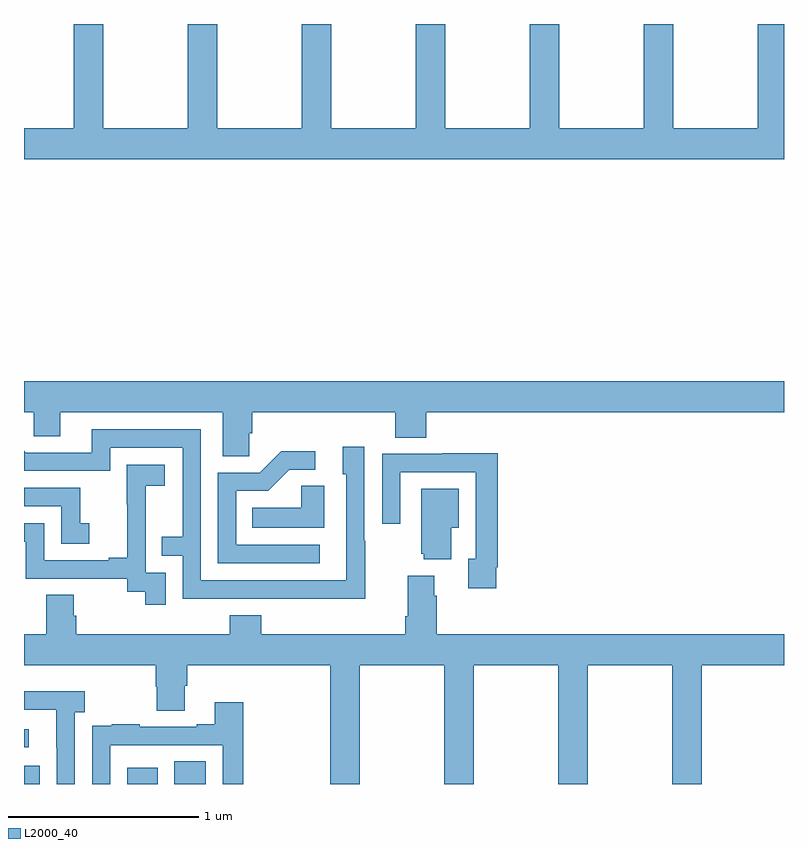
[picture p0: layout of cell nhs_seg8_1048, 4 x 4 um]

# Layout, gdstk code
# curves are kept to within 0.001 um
import gdstk
lib = gdstk.Library(unit=1e-6, precision=1e-09)
def R(c, l, rs):  # rectangles x0, y0, x1, y1
    for r in rs: c.add(gdstk.rectangle(r[:2], r[2:], *l))
def P(c, l, *ps):  # polygons
    for p in ps: c.add(gdstk.Polygon(p, *l))
L2000_40 = (2000, 40)

nhs_seg8_1048 = lib.new_cell('nhs_seg8_1048')
R(nhs_seg8_1048, L2000_40, [(179,1091.9,179.083,1091.995), (179.543,1091.9,179.704,1091.986), (179.792,1091.9,179.956,1092.02), (179,1092.093,179.026,1092.189)])
P(nhs_seg8_1048, L2000_40, [(183,1095.9),(182.863,1095.9),(182.863,1095.352),(182.418,1095.352),(182.418,1095.9),(182.263,1095.9),(182.263,1095.352),(181.818,1095.352),(181.818,1095.9),(181.663,1095.9),(181.663,1095.352),(181.218,1095.352),(181.218,1095.9),(181.063,1095.9),(181.063,1095.352),(180.618,1095.352),(180.618,1095.9),(180.463,1095.9),(180.463,1095.352),(180.018,1095.352),(180.018,1095.9),(179.863,1095.9),(179.863,1095.352),(179.418,1095.352),(179.418,1095.9),(179.263,1095.9),(179.263,1095.352),(179,1095.352),(179,1095.188),(183,1095.188)],
  [(179,1093.856),(179.052,1093.856),(179.052,1093.729),(179.191,1093.729),(179.191,1093.856),(180.047,1093.856),(180.047,1093.624),(180.186,1093.624),(180.186,1093.747),(180.2,1093.747),(180.2,1093.856),(180.953,1093.856),(180.953,1093.723),(181.118,1093.723),(181.118,1093.856),(183,1093.856),(183,1094.02),(179,1094.02)],
  [(180.795,1093.181),(180.792,1093.181),(180.792,1093.675),(180.677,1093.675),(180.677,1093.53),(180.696,1093.53),(180.696,1092.972),(179.931,1092.972),(179.931,1093.767),(179.357,1093.767),(179.357,1093.644),(179.01,1093.644),(179,1093.654),(179,1093.548),(179.454,1093.548),(179.454,1093.671),(179.835,1093.671),(179.835,1093.202),(179.725,1093.202),(179.725,1093.101),(179.835,1093.101),(179.835,1092.876),(180.795,1092.875)],
  [(180.556,1093.158),(180.117,1093.158),(180.117,1093.443),(180.286,1093.443),(180.397,1093.554),(180.532,1093.554),(180.532,1093.652),(180.353,1093.652),(180.24,1093.539),(180.021,1093.539),(180.021,1093.062),(180.556,1093.062)],
  [(181.486,1093.042),(181.493,1093.042),(181.493,1093.64),(181.201,1093.64),(181.201,1093.638),(180.885,1093.638),(180.885,1093.269),(180.981,1093.269),(180.981,1093.542),(181.377,1093.542),(181.377,1093.086),(181.337,1093.086),(181.337,1092.93),(181.486,1092.93)],
  [(179.745,1093.011),(179.64,1093.011),(179.64,1093.241),(179.642,1093.241),(179.642,1093.469),(179.74,1093.469),(179.74,1093.579),(179.542,1093.579),(179.542,1093.373),(179.543,1093.373),(179.543,1093.09),(179.447,1093.09),(179.447,1093.077),(179.106,1093.077),(179.106,1093.272),(179,1093.272),(179,1093.176),(179.01,1093.176),(179.01,1092.981),(179.544,1092.981),(179.544,1092.913),(179.637,1092.913),(179.637,1092.843),(179.745,1092.843)],
  [(180.58,1093.469),(180.459,1093.469),(180.459,1093.354),(180.202,1093.354),(180.202,1093.25),(180.58,1093.25)],
  [(179.344,1093.273),(179.295,1093.273),(179.295,1093.458),(179,1093.458),(179,1093.362),(179.196,1093.362),(179.196,1093.164),(179.344,1093.164)],
  [(181.249,1093.25),(181.288,1093.25),(181.288,1093.453),(181.091,1093.453),(181.091,1093.113),(181.103,1093.113),(181.103,1093.082),(181.249,1093.082)],
  [(180.768,1092.524),(181.213,1092.524),(181.213,1091.9),(181.368,1091.9),(181.368,1092.524),(181.813,1092.524),(181.813,1091.9),(181.968,1091.9),(181.968,1092.524),(182.413,1092.524),(182.413,1091.9),(182.568,1091.9),(182.568,1092.524),(183,1092.524),(183,1092.688),(181.172,1092.688),(181.172,1092.89),(181.159,1092.89),(181.159,1092.997),(181.019,1092.997),(181.019,1092.784),(181.007,1092.784),(181.007,1092.688),(180.248,1092.688),(180.248,1092.787),(180.083,1092.787),(180.083,1092.688),(179.276,1092.688),(179.276,1092.786),(179.263,1092.786),(179.263,1092.896),(179.116,1092.896),(179.116,1092.688),(179,1092.688),(179,1092.524),(179.693,1092.524),(179.693,1092.411),(179.698,1092.411),(179.698,1092.286),(179.845,1092.286),(179.845,1092.418),(179.858,1092.418),(179.858,1092.524),(180.613,1092.524),(180.613,1091.9),(180.768,1091.9)],
  [(179.268,1092.278),(179.32,1092.278),(179.32,1092.388),(179,1092.388),(179,1092.291),(179.171,1092.291),(179.171,1092.091),(179.172,1092.091),(179.172,1091.9),(179.268,1091.9)],
  [(179.454,1092.105),(180.045,1092.105),(180.045,1091.9),(180.154,1091.9),(180.154,1092.331),(180.005,1092.331),(180.005,1092.214),(179.909,1092.214),(179.909,1092.201),(179.609,1092.201),(179.609,1092.214),(179.461,1092.214),(179.461,1092.207),(179.359,1092.207),(179.359,1092.098),(179.358,1092.098),(179.358,1091.9),(179.454,1091.9)])

lib.write_gds('nhs_seg8_1048.gds')
